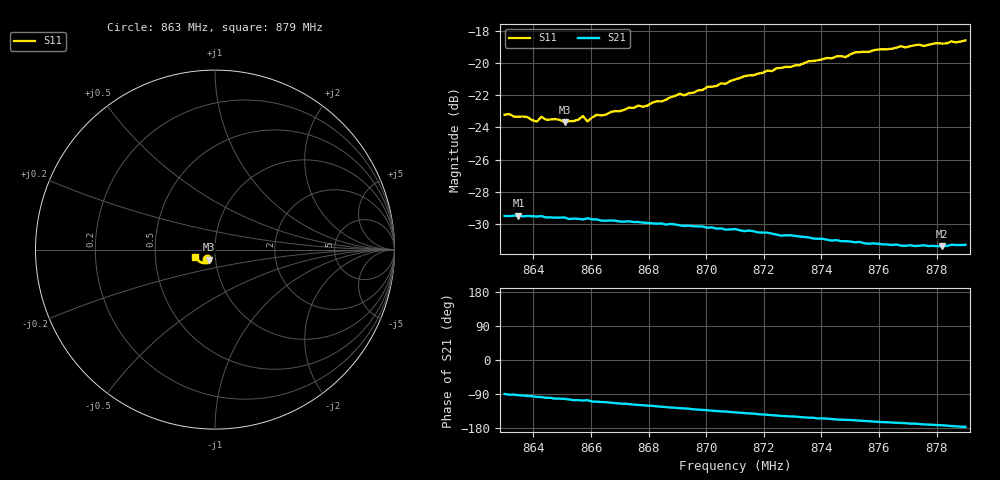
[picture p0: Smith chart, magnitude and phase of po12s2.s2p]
# HZ S RI R 50
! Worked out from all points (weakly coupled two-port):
!   101 points, 863 MHz to 879 MHz, reference 50 ohm
!   highest |S21| = -29.49 dB at 863.48 MHz (marker M1); lowest = -31.4 dB at 878.2 MHz (marker M2)
!   lowest |S11| = -23.7 dB at 865.08 MHz (marker M3), VSWR 1.14, Z = 46.4 - j5.19 ohm
!   |S11| at or under -10 dB: start of sweep to end of sweep
!   S12 and S22 are empty: the file has one direction only
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8.63e8  -0.044 -0.0533  0.000236 -0.0335  0 0  0 0
8.6348e8  -0.0413 -0.0542  -0.00171 -0.0335  0 0  0 0
8.638e8  -0.0402 -0.0548  -0.00287 -0.0333  0 0  0 0
8.6412e8  -0.0375 -0.0541  -0.00434 -0.033  0 0  0 0
8.6428e8  -0.0381 -0.0564  -0.00452 -0.0331  0 0  0 0
8.6444e8  -0.0383 -0.0546  -0.00563 -0.0326  0 0  0 0
8.6476e8  -0.0367 -0.0561  -0.00685 -0.0323  0 0  0 0
8.6508e8  -0.0346 -0.0557  -0.0072 -0.0323  0 0  0 0
8.6556e8  -0.0349 -0.0569  -0.00893 -0.0315  0 0  0 0
8.6572e8  -0.0339 -0.0594  -0.00959 -0.0312  0 0  0 0
8.6588e8  -0.034 -0.0564  -0.00898 -0.0316  0 0  0 0
8.662e8  -0.0348 -0.0597  -0.0112 -0.0307  0 0  0 0
8.6844e8  -0.037 -0.0663  -0.0175 -0.0265  0 0  0 0
8.6908e8  -0.0399 -0.0698  -0.0189 -0.0249  0 0  0 0
8.6924e8  -0.0394 -0.069  -0.0191 -0.0246  0 0  0 0
8.71e8  -0.0491 -0.0743  -0.0227 -0.0203  0 0  0 0
8.7372e8  -0.0688 -0.0749  -0.0252 -0.0131  0 0  0 0
8.7484e8  -0.077 -0.0706  -0.0259 -0.0103  0 0  0 0
8.7516e8  -0.0832 -0.069  -0.0259 -0.00987  0 0  0 0
8.7644e8  -0.0921 -0.0619  -0.0262 -0.00702  0 0  0 0
8.782e8  -0.1054 -0.0462  -0.0267 -0.00361  0 0  0 0
8.79e8  -0.1112 -0.0386  -0.0271 -0.00175  0 0  0 0
